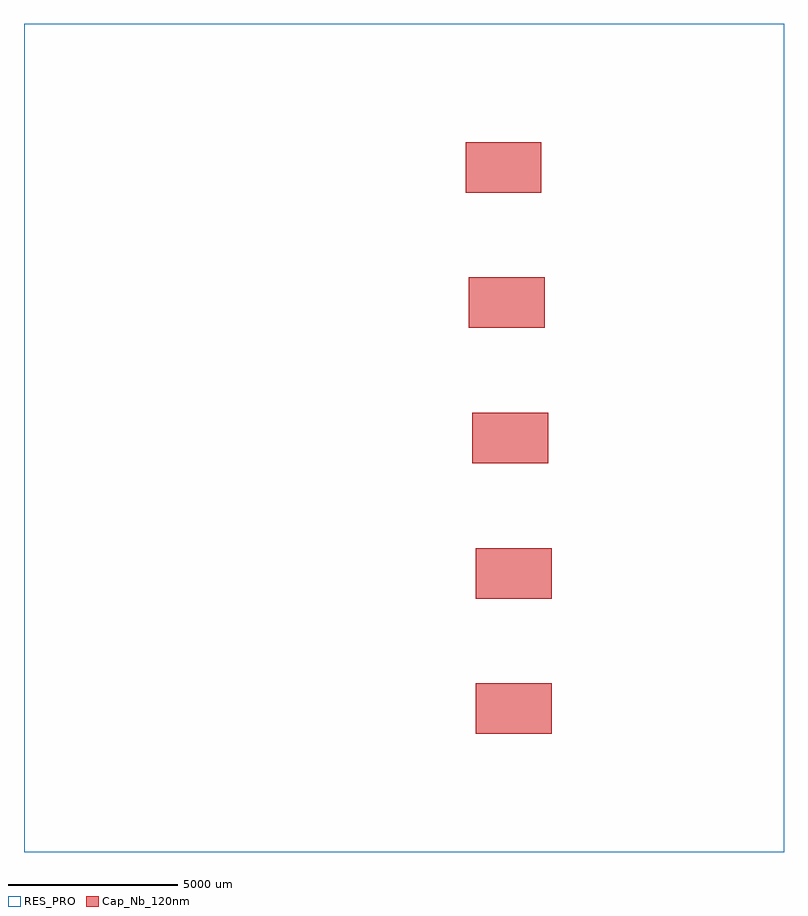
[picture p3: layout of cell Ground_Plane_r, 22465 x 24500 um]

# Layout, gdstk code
import gdstk
lib = gdstk.Library(unit=1e-6, precision=1e-09)
def R(c, l, rs):  # rectangles x0, y0, x1, y1
    for r in rs: c.add(gdstk.rectangle(r[:2], r[2:], *l))
Cap_Nb_120nm = (6, 0)
RES_PRO = (10, 0)

ground_plane_r = lib.new_cell('Ground_Plane_r')
R(ground_plane_r, Cap_Nb_120nm, [(2418.914,-8670.23,4660.914,-7177.23), (2418.914,-4670.23,4660.914,-3177.23), (2318.914,-670.23,4560.914,822.77), (2218.914,3329.77,4460.914,4822.77), (2118.914,7329.77,4360.914,8822.77)])
R(ground_plane_r, RES_PRO, [(-10933.042,-12174.801,11531.958,12325.199)])

lib.write_gds('Ground_Plane_r.gds')
